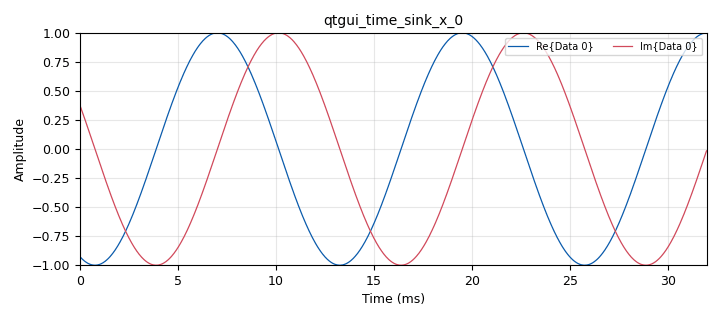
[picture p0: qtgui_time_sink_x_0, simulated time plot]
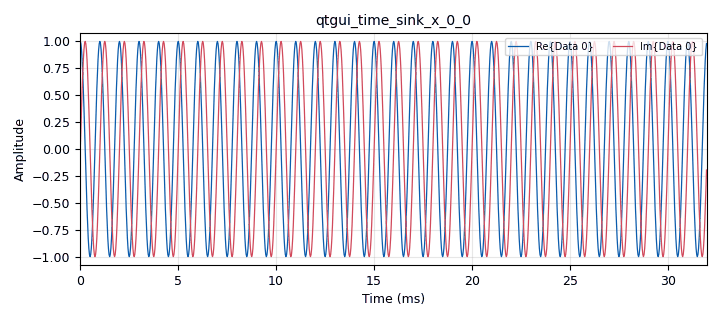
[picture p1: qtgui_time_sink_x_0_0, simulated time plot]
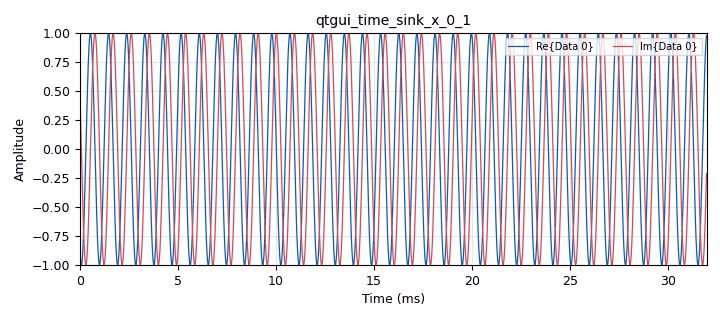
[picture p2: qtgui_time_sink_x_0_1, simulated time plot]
options:
  parameters:
    author: kankh
    generate_options: qt_gui
    id: ASK
    output_language: python
    title: Not titled yet
  states: {}

blocks:
- name: samp_rate
  id: variable
  parameters:
    value: '32000'
  states: {}
- name: analog_sig_source_x_0
  id: analog_sig_source_x
  parameters:
    amp: '1'
    freq: '500'
    offset: '0'
    phase: '0'
    samp_rate: '200000'
    type: complex
    waveform: analog.GR_COS_WAVE
  states: {}
- name: analog_sig_source_x_0_0
  id: analog_sig_source_x
  parameters:
    amp: '1'
    freq: '1000'
    offset: '0'
    phase: '0'
    samp_rate: samp_rate
    type: complex
    waveform: analog.GR_COS_WAVE
  states: {}
- name: blocks_multiply_xx_0
  id: blocks_multiply_xx
  parameters:
    type: complex
  states: {}
- name: blocks_throttle_0
  id: blocks_throttle
  parameters:
    samples_per_second: samp_rate
    type: complex
  states: {}
- name: blocks_throttle_0_0
  id: blocks_throttle
  parameters:
    samples_per_second: samp_rate
    type: complex
  states: {}
- name: qtgui_time_sink_x_0
  id: qtgui_time_sink_x
  parameters:
    size: '1024'
    srate: samp_rate
    type: complex
  states: {}
- name: qtgui_time_sink_x_0_0
  id: qtgui_time_sink_x
  parameters:
    size: '1024'
    srate: samp_rate
    type: complex
  states: {}
- name: qtgui_time_sink_x_0_1
  id: qtgui_time_sink_x
  parameters:
    size: '1024'
    srate: samp_rate
    type: complex
  states: {}

connections:
- [analog_sig_source_x_0, '0', blocks_throttle_0, '0']
- [analog_sig_source_x_0, '0', qtgui_time_sink_x_0, '0']
- [analog_sig_source_x_0_0, '0', blocks_throttle_0_0, '0']
- [analog_sig_source_x_0_0, '0', qtgui_time_sink_x_0_0, '0']
- [blocks_multiply_xx_0, '0', qtgui_time_sink_x_0_1, '0']
- [blocks_throttle_0, '0', blocks_multiply_xx_0, '0']
- [blocks_throttle_0_0, '0', blocks_multiply_xx_0, '1']

metadata:
  file_format: 1
  grc_version: 3.10.12.0
